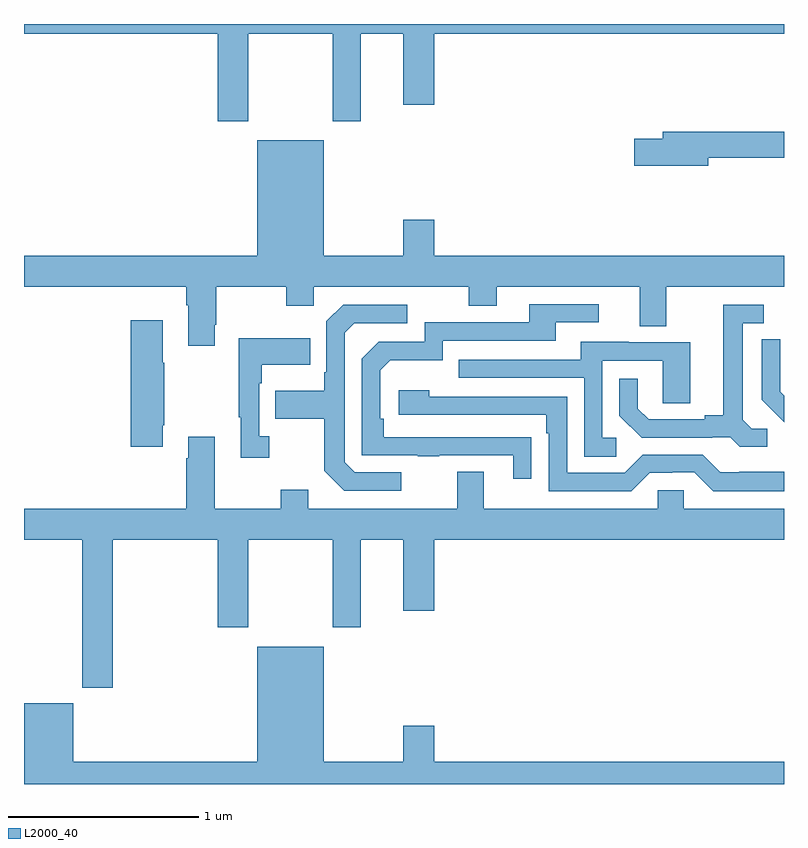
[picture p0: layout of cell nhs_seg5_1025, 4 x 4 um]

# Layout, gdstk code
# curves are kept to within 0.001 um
import gdstk
lib = gdstk.Library(unit=1e-6, precision=1e-09)
def P(c, l, *ps):  # polygons
    for p in ps: c.add(gdstk.Polygon(p, *l))
L2000_40 = (2000, 40)

nhs_seg5_1025 = lib.new_cell('nhs_seg5_1025')
P(nhs_seg5_1025, L2000_40, [(176.181,868.748),(176.626,868.748),(176.626,868.287),(176.773,868.287),(176.773,868.748),(176.996,868.748),(176.996,868.374),(177.16,868.374),(177.16,868.748),(179,868.748),(179,868.799),(175,868.799),(175,868.748),(176.021,868.748),(176.021,868.287),(176.181,868.287)],
  [(178.6,868.096),(179,868.096),(179,868.232),(178.361,868.232),(178.361,868.196),(178.212,868.196),(178.212,868.054),(178.6,868.054)],
  [(176.005,867.217),(176.013,867.217),(176.013,867.416),(176.38,867.416),(176.38,867.317),(176.526,867.317),(176.526,867.416),(177.34,867.416),(177.34,867.317),(177.487,867.317),(177.487,867.416),(178.241,867.416),(178.241,867.208),(178.381,867.208),(178.381,867.416),(179,867.416),(179,867.58),(177.16,867.58),(177.16,867.769),(176.996,867.769),(176.996,867.58),(176.578,867.58),(176.578,868.186),(176.228,868.186),(176.228,867.58),(175,867.58),(175,867.416),(175.853,867.416),(175.853,867.32),(175.865,867.32),(175.865,867.105),(176.005,867.105)],
  [(177.671,866.624),(176.894,866.625),(176.894,866.722),(176.874,866.722),(176.874,866.976),(176.927,867.029),(177.204,867.029),(177.204,867.132),(177.799,867.132),(177.799,867.228),(178.024,867.228),(178.024,867.324),(177.659,867.324),(177.659,867.228),(177.108,867.228),(177.108,867.126),(176.868,867.126),(176.778,867.036),(176.778,866.529),(177.073,866.529),(177.073,866.524),(177.185,866.524),(177.185,866.529),(177.575,866.529),(177.575,866.406),(177.671,866.406)],
  [(176.986,866.439),(176.742,866.439),(176.688,866.493),(176.688,867.174),(176.739,867.225),(177.016,867.225),(177.016,867.321),(176.679,867.321),(176.592,867.234),(176.592,866.965),(176.58,866.965),(176.58,866.869),(176.323,866.869),(176.323,866.722),(176.58,866.722),(176.58,866.449),(176.685,866.343),(176.986,866.343)],
  [(178.912,866.67),(178.83,866.67),(178.783,866.717),(178.783,867.225),(178.894,867.225),(178.894,867.321),(178.679,867.321),(178.679,866.741),(178.583,866.741),(178.583,866.718),(178.288,866.718),(178.231,866.775),(178.231,866.932),(178.134,866.932),(178.134,866.738),(178.25,866.622),(178.622,866.622),(178.622,866.625),(178.716,866.625),(178.768,866.573),(178.912,866.573)],
  [(175.729,866.686),(175.737,866.686),(175.737,867.017),(175.729,867.017),(175.729,867.241),(175.562,867.241),(175.562,866.574),(175.729,866.574)],
  [(176.29,866.63),(176.238,866.63),(176.238,866.909),(176.251,866.909),(176.251,867.005),(176.507,867.005),(176.507,867.145),(176.13,867.145),(176.13,866.729),(176.141,866.729),(176.141,866.517),(176.29,866.517)],
  [(179,866.843),(178.979,866.864),(178.979,866.986),(178.98,866.986),(178.98,867.14),(178.884,867.14),(178.884,866.822),(178.957,866.749),(178.956,866.748),(179,866.704)],
  [(178.117,866.622),(178.044,866.622),(178.044,867.027),(178.362,867.027),(178.362,866.803),(178.507,866.803),(178.507,867.123),(178.183,867.123),(178.183,867.127),(177.929,867.127),(177.929,867.033),(177.289,867.033),(177.289,866.937),(177.948,866.937),(177.948,866.521),(178.117,866.521)],
  [(179,866.443),(178.765,866.443),(178.765,866.439),(178.665,866.439),(178.572,866.532),(178.257,866.532),(178.161,866.436),(177.858,866.436),(177.858,866.838),(177.134,866.838),(177.134,866.872),(176.973,866.872),(176.973,866.742),(177.749,866.742),(177.749,866.645),(177.762,866.645),(177.762,866.34),(178.197,866.34),(178.293,866.436),(178.412,866.436),(178.412,866.439),(178.527,866.439),(178.627,866.339),(179,866.339)],
  [(175.466,866.084),(176.021,866.084),(176.021,865.623),(176.181,865.623),(176.181,866.084),(176.626,866.084),(176.626,865.623),(176.773,865.623),(176.773,866.084),(176.996,866.084),(176.996,865.71),(177.16,865.71),(177.16,866.084),(179,866.084),(179,866.248),(178.473,866.248),(178.473,866.346),(178.335,866.346),(178.335,866.248),(177.421,866.248),(177.421,866.443),(177.281,866.443),(177.281,866.248),(176.497,866.248),(176.497,866.347),(176.35,866.347),(176.35,866.248),(176.005,866.248),(176.005,866.626),(175.865,866.626),(175.865,866.513),(175.853,866.513),(175.853,866.248),(175,866.248),(175,866.084),(175.306,866.084),(175.306,865.305),(175.466,865.305)],
  [(179,864.916),(177.16,864.916),(177.16,865.105),(176.996,865.105),(176.996,864.916),(176.578,864.916),(176.578,865.522),(176.228,865.522),(176.228,864.916),(175.258,864.916),(175.258,865.225),(175,865.225),(175,864.799),(179,864.799)])

lib.write_gds('nhs_seg5_1025.gds')
